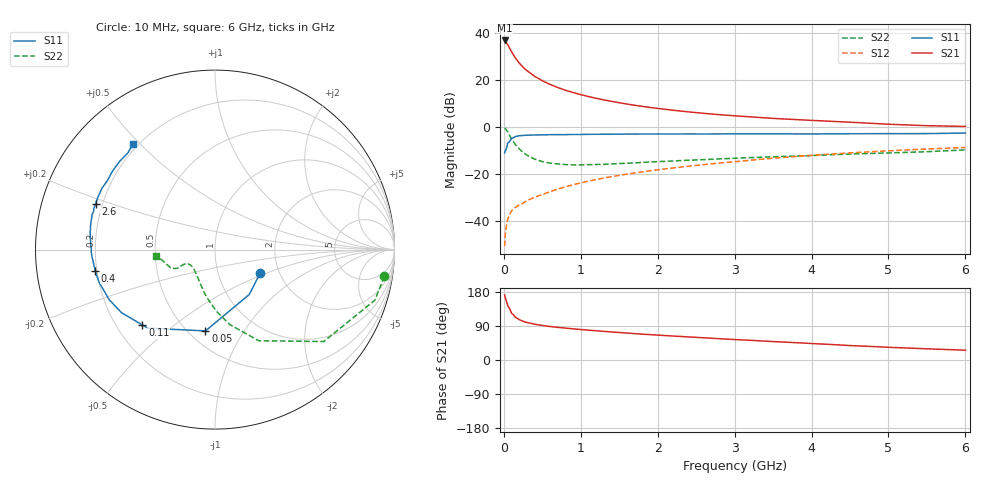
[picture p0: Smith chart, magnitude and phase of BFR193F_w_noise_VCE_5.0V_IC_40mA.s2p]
! Infineon Technologies  Discrete & RF Semiconductors
! BFR193F
! VCE =  5.0 V,  IC =  40 mA
! Common Emitter S-Parameters:  Jan 2017
# GHz  S  MA  R  50
!  f  S11  S21  S12  S22
! GHz  MAG  ANG  MAG  ANG  MAG  ANG  MAG  ANG
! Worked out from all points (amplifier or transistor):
!   77 points, 10 MHz to 6 GHz, reference 50 ohm
!   highest |S21| = 36.6 dB at 10 MHz (marker M1)
!   |S21| within 3 dB of that: start of sweep to 71.33 MHz
!   unconditionally stable (mu >= 1): 960.7 MHz to 2.62 GHz
!   at 130 MHz: K = 0.44, MSG = 32.5 dB, |S12| = -34.6 dB
!   at 2.2 GHz: K = 1.02, MAG = 11.4 dB, |S12| = -17.3 dB
!   at 6 GHz: K = 0.86, MSG = 4.5 dB, |S12| = -8.7 dB
!   lowest NFmin = 1.34 dB at 450 MHz
!   S11 on the Smith chart (normalised r, x): 10 MHz: 1.60, -0.45; 50 MHz: 0.60, -0.69; 110 MHz: 0.31, -0.39; 400 MHz: 0.19, -0.08; 2.6 GHz: 0.17, +0.18; 6 GHz: 0.18, +0.48
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0.01  0.2842 -27.4  67.87 171.8  0.003 84.5  0.9556 -9.0
0.02  0.3147 -52.7  65.99 163.5  0.0055 79.2  0.9337 -17.6
0.05  0.4561 -96.7  55.77 143.8  0.0112 65.6  0.7933 -40.2
0.1  0.5761 -130.6  39.29 123.5  0.0167 51.6  0.5638 -64.3
0.11  0.583 -133.9  37.15 121.9  0.0173 51.3  0.534 -66.6
0.15  0.6284 -146.0  28.97 113.0  0.0198 50.1  0.4262 -78.8
0.2  0.652 -154.6  22.61 106.5  0.0225 50.8  0.345 -88.5
0.25  0.6616 -160.6  18.42 102.2  0.0244 53.3  0.2883 -96.4
0.3  0.6713 -164.5  15.56 99.0  0.0275 55.5  0.2543 -102.7
0.4  0.6782 -170.1  11.81 94.3  0.0325 59.2  0.2089 -112.7
0.5  0.6809 -173.6  9.521 91.2  0.0373 62.8  0.1852 -120.6
0.6  0.6861 -176.5  7.976 88.4  0.0426 64.6  0.1717 -127.2
0.7  0.6898 -179.0  6.856 86.1  0.0486 67.3  0.1651 -132.0
0.9  0.6944 177.3  5.36 82.2  0.0599 69.9  0.1578 -140.2
1.1  0.6988 174.4  4.404 78.7  0.0715 71.3  0.1597 -144.8
1.5  0.7051 169.6  3.261 72.6  0.0944 72.3  0.1683 -151.3
2.1  0.7107 163.4  2.366 64.5  0.1298 72.4  0.1878 -154.4
2.6  0.7116 159.2  1.945 58.6  0.1597 71.8  0.2038 -154.3
3.1  0.715 154.9  1.682 53.0  0.1905 70.8  0.2209 -153.6
4.1  0.7136 146.0  1.356 42.5  0.2572 66.8  0.2524 -155.5
5.1  0.7237 136.3  1.128 32.7  0.3187 61.2  0.2858 -164.5
6  0.7448 127.9  1.028 25.8  0.368 56.0  0.3279 -173.9
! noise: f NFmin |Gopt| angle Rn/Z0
0.45  1.34  0.43  179  0.06
0.9  1.42  0.44  180  0.07
1.9  1.98  0.59  -165  0.08
2.4  2.27  0.61  -157  0.13
